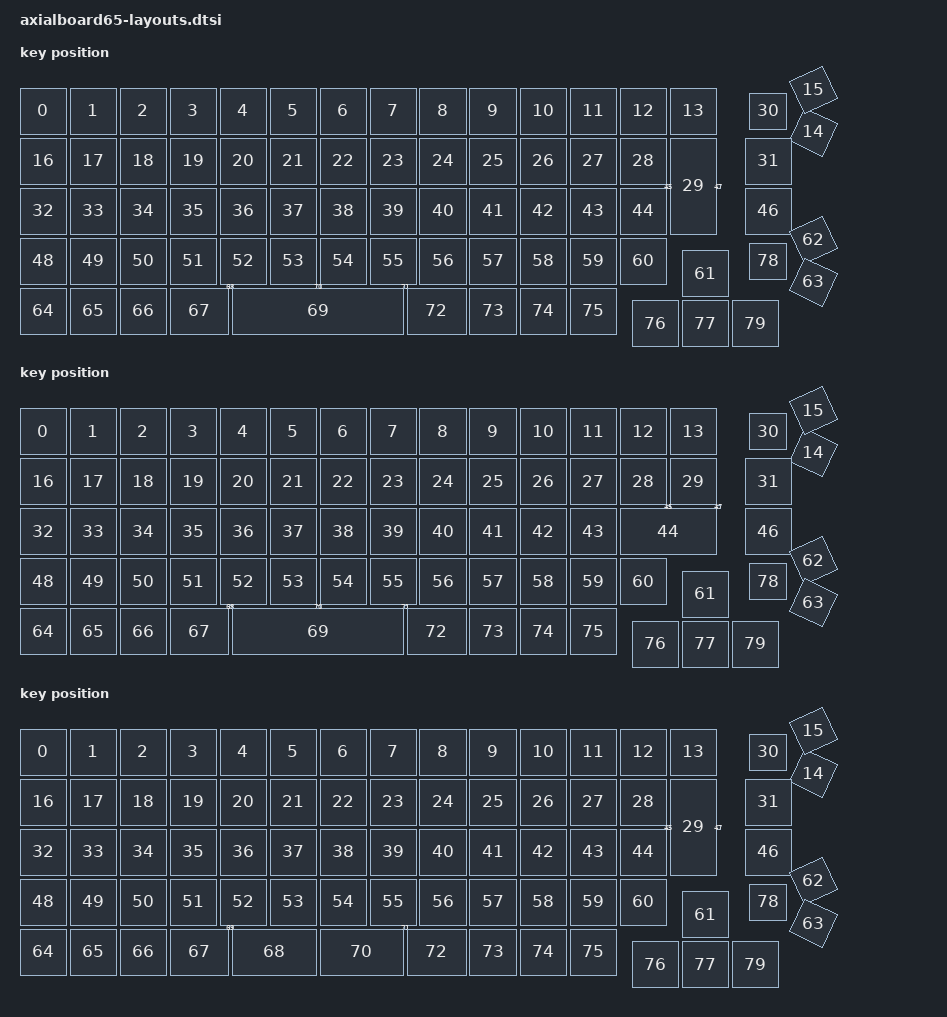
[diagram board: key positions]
#include <physical_layouts.dtsi>

/ {
    physical_layout0: physical_layout_0 {
        compatible = "zmk,physical-layout";
        display-name = "AxialBoard65 Vertical Enter";
        keys =
            /* 00-15 */
            <&key_physical_attrs 100 100    0   0     0    0    0>,   /* pos 00: RC(0,0) */
            <&key_physical_attrs 100 100  100   0     0    0    0>,   /* pos 01: RC(1,0) */
            <&key_physical_attrs 100 100  200   0     0    0    0>,   /* pos 02: RC(0,1) */
            <&key_physical_attrs 100 100  300   0     0    0    0>,   /* pos 03: RC(1,1) */
            <&key_physical_attrs 100 100  400   0     0    0    0>,   /* pos 04: RC(0,2) */
            <&key_physical_attrs 100 100  500   0     0    0    0>,   /* pos 05: RC(1,2) */
            <&key_physical_attrs 100 100  600   0     0    0    0>,   /* pos 06: RC(0,3) */
            <&key_physical_attrs 100 100  700   0     0    0    0>,   /* pos 07: RC(1,3) */
            <&key_physical_attrs 100 100  800   0     0    0    0>,   /* pos 08: RC(0,4) */
            <&key_physical_attrs 100 100  900   0     0    0    0>,   /* pos 09: RC(1,4) */
            <&key_physical_attrs 100 100 1000   0     0    0    0>,   /* pos 10: RC(0,5) */
            <&key_physical_attrs 100 100 1100   0     0    0    0>,   /* pos 11: RC(1,5) */
            <&key_physical_attrs 100 100 1200   0     0    0    0>,   /* pos 12: RC(0,6) */
            <&key_physical_attrs 100 100 1300   0     0    0    0>,   /* pos 13: RC(1,6) */
            <&key_physical_attrs  80  80 1560  10   2500  1500 50>,   /* pos 14: RC(0,7) enc1 cw */
            <&key_physical_attrs  80  80 1560  10 (-2500) 1500 50>,   /* pos 15: RC(1,7) enc1 ccw */

            /* 16-31 */
            <&key_physical_attrs 100 100    0 100     0    0    0>,   /* pos 16: RC(2,0) */
            <&key_physical_attrs 100 100  100 100     0    0    0>,   /* pos 17: RC(3,0) */
            <&key_physical_attrs 100 100  200 100     0    0    0>,   /* pos 18: RC(2,1) */
            <&key_physical_attrs 100 100  300 100     0    0    0>,   /* pos 19: RC(3,1) */
            <&key_physical_attrs 100 100  400 100     0    0    0>,   /* pos 20: RC(2,2) */
            <&key_physical_attrs 100 100  500 100     0    0    0>,   /* pos 21: RC(3,2) */
            <&key_physical_attrs 100 100  600 100     0    0    0>,   /* pos 22: RC(2,3) */
            <&key_physical_attrs 100 100  700 100     0    0    0>,   /* pos 23: RC(3,3) */
            <&key_physical_attrs 100 100  800 100     0    0    0>,   /* pos 24: RC(2,4) */
            <&key_physical_attrs 100 100  900 100     0    0    0>,   /* pos 25: RC(3,4) */
            <&key_physical_attrs 100 100 1000 100     0    0    0>,   /* pos 26: RC(2,5) */
            <&key_physical_attrs 100 100 1100 100     0    0    0>,   /* pos 27: RC(3,5) */
            <&key_physical_attrs 100 100 1200 100     0    0    0>,   /* pos 28: RC(2,6) */
            <&key_physical_attrs 100 200 1300 100     0    0    0>,   /* pos 29: RC(3,6) vertical Enter */
            <&key_physical_attrs  80  80 1460  10     0    0    0>,   /* pos 30: RC(2,7) enc1 push */
            <&key_physical_attrs 100 100 1450 100     0    0    0>,   /* pos 31: RC(3,7) */

            /* 32-47 */
            <&key_physical_attrs 100 100    0 200     0    0    0>,   /* pos 32: RC(4,0) */
            <&key_physical_attrs 100 100  100 200     0    0    0>,   /* pos 33: RC(5,0) */
            <&key_physical_attrs 100 100  200 200     0    0    0>,   /* pos 34: RC(4,1) */
            <&key_physical_attrs 100 100  300 200     0    0    0>,   /* pos 35: RC(5,1) */
            <&key_physical_attrs 100 100  400 200     0    0    0>,   /* pos 36: RC(4,2) */
            <&key_physical_attrs 100 100  500 200     0    0    0>,   /* pos 37: RC(5,2) */
            <&key_physical_attrs 100 100  600 200     0    0    0>,   /* pos 38: RC(4,3) */
            <&key_physical_attrs 100 100  700 200     0    0    0>,   /* pos 39: RC(5,3) */
            <&key_physical_attrs 100 100  800 200     0    0    0>,   /* pos 40: RC(4,4) */
            <&key_physical_attrs 100 100  900 200     0    0    0>,   /* pos 41: RC(5,4) */
            <&key_physical_attrs 100 100 1000 200     0    0    0>,   /* pos 42: RC(4,5) */
            <&key_physical_attrs 100 100 1100 200     0    0    0>,   /* pos 43: RC(5,5) */
            <&key_physical_attrs 100 100 1200 200     0    0    0>,   /* pos 44: RC(4,6) */
            <&key_physical_attrs   1   1 1300 200     0    0    0>,   /* pos 45: RC(5,6) dummy */
            <&key_physical_attrs 100 100 1450 200     0    0    0>,   /* pos 46: RC(4,7) */
            <&key_physical_attrs   1   1 1400 200     0    0    0>,   /* pos 47: RC(5,7) dummy */

            /* 48-63 */
            <&key_physical_attrs 100 100    0 300     0    0    0>,   /* pos 48: RC(6,0) */
            <&key_physical_attrs 100 100  100 300     0    0    0>,   /* pos 49: RC(7,0) */
            <&key_physical_attrs 100 100  200 300     0    0    0>,   /* pos 50: RC(6,1) */
            <&key_physical_attrs 100 100  300 300     0    0    0>,   /* pos 51: RC(7,1) */
            <&key_physical_attrs 100 100  400 300     0    0    0>,   /* pos 52: RC(6,2) */
            <&key_physical_attrs 100 100  500 300     0    0    0>,   /* pos 53: RC(7,2) */
            <&key_physical_attrs 100 100  600 300     0    0    0>,   /* pos 54: RC(6,3) */
            <&key_physical_attrs 100 100  700 300     0    0    0>,   /* pos 55: RC(7,3) */
            <&key_physical_attrs 100 100  800 300     0    0    0>,   /* pos 56: RC(6,4) */
            <&key_physical_attrs 100 100  900 300     0    0    0>,   /* pos 57: RC(7,4) */
            <&key_physical_attrs 100 100 1000 300     0    0    0>,   /* pos 58: RC(6,5) */
            <&key_physical_attrs 100 100 1100 300     0    0    0>,   /* pos 59: RC(7,5) */
            <&key_physical_attrs 100 100 1200 300     0    0    0>,   /* pos 60: RC(6,6) */
            <&key_physical_attrs 100 100 1325 325     0    0    0>,   /* pos 61: RC(7,6) */
            <&key_physical_attrs  80  80 1560 310 (-2500) 1500 350>,   /* pos 62: RC(6,7) enc2 up */
            <&key_physical_attrs  80  80 1560 310   2500  1500 350>,   /* pos 63: RC(7,7) enc2 dn */

            /* 64-79 */
            <&key_physical_attrs 100 100    0 400     0    0    0>,   /* pos 64: RC(8,0) */
            <&key_physical_attrs 100 100  100 400     0    0    0>,   /* pos 65: RC(9,0) */
            <&key_physical_attrs 100 100  200 400     0    0    0>,   /* pos 66: RC(8,1) */
            <&key_physical_attrs 125 100  300 400     0    0    0>,   /* pos 67: RC(9,1) */
            <&key_physical_attrs   1   1  425 400     0    0    0>,   /* pos 68: RC(8,2) dummy */
            <&key_physical_attrs 350 100  425 400     0    0    0>,   /* pos 69: RC(9,2) 3.5u space */
            <&key_physical_attrs   1   1  600 400     0    0    0>,   /* pos 70: RC(8,3) dummy */
            <&key_physical_attrs   1   1  775 400     0    0    0>,   /* pos 71: RC(9,3) dummy */
            <&key_physical_attrs 125 100  775 400     0    0    0>,   /* pos 72: RC(8,4) */
            <&key_physical_attrs 100 100  900 400     0    0    0>,   /* pos 73: RC(9,4) */
            <&key_physical_attrs 100 100 1000 400     0    0    0>,   /* pos 74: RC(8,5) */
            <&key_physical_attrs 100 100 1100 400     0    0    0>,   /* pos 75: RC(9,5) */
            <&key_physical_attrs 100 100 1225 425     0    0    0>,   /* pos 76: RC(8,6) */
            <&key_physical_attrs 100 100 1325 425     0    0    0>,   /* pos 77: RC(9,6) */
            <&key_physical_attrs  80  80 1460 310     0    0    0>,   /* pos 78: RC(8,7) enc2 push */
            <&key_physical_attrs 100 100 1425 425     0    0    0>;   /* pos 79: RC(9,7) */
    };

    physical_layout1: physical_layout_1 {
        compatible = "zmk,physical-layout";
        display-name = "AxialBoard65 Horizontal Enter";
        keys =
            /* 00-15 */
            <&key_physical_attrs 100 100    0   0     0    0    0>,   /* pos 00: RC(0,0) */
            <&key_physical_attrs 100 100  100   0     0    0    0>,   /* pos 01: RC(1,0) */
            <&key_physical_attrs 100 100  200   0     0    0    0>,   /* pos 02: RC(0,1) */
            <&key_physical_attrs 100 100  300   0     0    0    0>,   /* pos 03: RC(1,1) */
            <&key_physical_attrs 100 100  400   0     0    0    0>,   /* pos 04: RC(0,2) */
            <&key_physical_attrs 100 100  500   0     0    0    0>,   /* pos 05: RC(1,2) */
            <&key_physical_attrs 100 100  600   0     0    0    0>,   /* pos 06: RC(0,3) */
            <&key_physical_attrs 100 100  700   0     0    0    0>,   /* pos 07: RC(1,3) */
            <&key_physical_attrs 100 100  800   0     0    0    0>,   /* pos 08: RC(0,4) */
            <&key_physical_attrs 100 100  900   0     0    0    0>,   /* pos 09: RC(1,4) */
            <&key_physical_attrs 100 100 1000   0     0    0    0>,   /* pos 10: RC(0,5) */
            <&key_physical_attrs 100 100 1100   0     0    0    0>,   /* pos 11: RC(1,5) */
            <&key_physical_attrs 100 100 1200   0     0    0    0>,   /* pos 12: RC(0,6) */
            <&key_physical_attrs 100 100 1300   0     0    0    0>,   /* pos 13: RC(1,6) */
            <&key_physical_attrs  80  80 1560  10   2500  1500 50>,   /* pos 14: RC(0,7) enc1 cw */
            <&key_physical_attrs  80  80 1560  10 (-2500) 1500 50>,   /* pos 15: RC(1,7) enc1 ccw */

            /* 16-31 */
            <&key_physical_attrs 100 100    0 100     0    0    0>,   /* pos 16: RC(2,0) */
            <&key_physical_attrs 100 100  100 100     0    0    0>,   /* pos 17: RC(3,0) */
            <&key_physical_attrs 100 100  200 100     0    0    0>,   /* pos 18: RC(2,1) */
            <&key_physical_attrs 100 100  300 100     0    0    0>,   /* pos 19: RC(3,1) */
            <&key_physical_attrs 100 100  400 100     0    0    0>,   /* pos 20: RC(2,2) */
            <&key_physical_attrs 100 100  500 100     0    0    0>,   /* pos 21: RC(3,2) */
            <&key_physical_attrs 100 100  600 100     0    0    0>,   /* pos 22: RC(2,3) */
            <&key_physical_attrs 100 100  700 100     0    0    0>,   /* pos 23: RC(3,3) */
            <&key_physical_attrs 100 100  800 100     0    0    0>,   /* pos 24: RC(2,4) */
            <&key_physical_attrs 100 100  900 100     0    0    0>,   /* pos 25: RC(3,4) */
            <&key_physical_attrs 100 100 1000 100     0    0    0>,   /* pos 26: RC(2,5) */
            <&key_physical_attrs 100 100 1100 100     0    0    0>,   /* pos 27: RC(3,5) */
            <&key_physical_attrs 100 100 1200 100     0    0    0>,   /* pos 28: RC(2,6) */
            <&key_physical_attrs 100 100 1300 100     0    0    0>,   /* pos 29: RC(3,6) */
            <&key_physical_attrs  80  80 1460  10     0    0    0>,   /* pos 30: RC(2,7) enc1 push */
            <&key_physical_attrs 100 100 1450 100     0    0    0>,   /* pos 31: RC(3,7) */

            /* 32-47 */
            <&key_physical_attrs 100 100    0 200     0    0    0>,   /* pos 32: RC(4,0) */
            <&key_physical_attrs 100 100  100 200     0    0    0>,   /* pos 33: RC(5,0) */
            <&key_physical_attrs 100 100  200 200     0    0    0>,   /* pos 34: RC(4,1) */
            <&key_physical_attrs 100 100  300 200     0    0    0>,   /* pos 35: RC(5,1) */
            <&key_physical_attrs 100 100  400 200     0    0    0>,   /* pos 36: RC(4,2) */
            <&key_physical_attrs 100 100  500 200     0    0    0>,   /* pos 37: RC(5,2) */
            <&key_physical_attrs 100 100  600 200     0    0    0>,   /* pos 38: RC(4,3) */
            <&key_physical_attrs 100 100  700 200     0    0    0>,   /* pos 39: RC(5,3) */
            <&key_physical_attrs 100 100  800 200     0    0    0>,   /* pos 40: RC(4,4) */
            <&key_physical_attrs 100 100  900 200     0    0    0>,   /* pos 41: RC(5,4) */
            <&key_physical_attrs 100 100 1000 200     0    0    0>,   /* pos 42: RC(4,5) */
            <&key_physical_attrs 100 100 1100 200     0    0    0>,   /* pos 43: RC(5,5) */
            <&key_physical_attrs 200 100 1200 200     0    0    0>,   /* pos 44: RC(4,6) horizontal Enter*/
            <&key_physical_attrs   1   1 1300 200     0    0    0>,   /* pos 45: RC(5,6) dummy */
            <&key_physical_attrs 100 100 1450 200     0    0    0>,   /* pos 46: RC(4,7) */
            <&key_physical_attrs   1   1 1400 200     0    0    0>,   /* pos 47: RC(5,7) dummy */

            /* 48-63 */
            <&key_physical_attrs 100 100    0 300     0    0    0>,   /* pos 48: RC(6,0) */
            <&key_physical_attrs 100 100  100 300     0    0    0>,   /* pos 49: RC(7,0) */
            <&key_physical_attrs 100 100  200 300     0    0    0>,   /* pos 50: RC(6,1) */
            <&key_physical_attrs 100 100  300 300     0    0    0>,   /* pos 51: RC(7,1) */
            <&key_physical_attrs 100 100  400 300     0    0    0>,   /* pos 52: RC(6,2) */
            <&key_physical_attrs 100 100  500 300     0    0    0>,   /* pos 53: RC(7,2) */
            <&key_physical_attrs 100 100  600 300     0    0    0>,   /* pos 54: RC(6,3) */
            <&key_physical_attrs 100 100  700 300     0    0    0>,   /* pos 55: RC(7,3) */
            <&key_physical_attrs 100 100  800 300     0    0    0>,   /* pos 56: RC(6,4) */
            <&key_physical_attrs 100 100  900 300     0    0    0>,   /* pos 57: RC(7,4) */
            <&key_physical_attrs 100 100 1000 300     0    0    0>,   /* pos 58: RC(6,5) */
            <&key_physical_attrs 100 100 1100 300     0    0    0>,   /* pos 59: RC(7,5) */
            <&key_physical_attrs 100 100 1200 300     0    0    0>,   /* pos 60: RC(6,6) */
            <&key_physical_attrs 100 100 1325 325     0    0    0>,   /* pos 61: RC(7,6) */
            <&key_physical_attrs  80  80 1560 310 (-2500) 1500 350>,   /* pos 62: RC(6,7) enc2 up */
            <&key_physical_attrs  80  80 1560 310   2500  1500 350>,   /* pos 63: RC(7,7) enc2 dn */

            /* 64-79 */
            <&key_physical_attrs 100 100    0 400     0    0    0>,   /* pos 64: RC(8,0) */
            <&key_physical_attrs 100 100  100 400     0    0    0>,   /* pos 65: RC(9,0) */
            <&key_physical_attrs 100 100  200 400     0    0    0>,   /* pos 66: RC(8,1) */
            <&key_physical_attrs 125 100  300 400     0    0    0>,   /* pos 67: RC(9,1) */
            <&key_physical_attrs   1   1  425 400     0    0    0>,   /* pos 68: RC(8,2) dummy */
            <&key_physical_attrs 350 100  425 400     0    0    0>,   /* pos 69: RC(9,2) 3.5u space */
            <&key_physical_attrs   1   1  600 400     0    0    0>,   /* pos 70: RC(8,3) dummy */
            <&key_physical_attrs   1   1  775 400     0    0    0>,   /* pos 71: RC(9,3) dummy */
            <&key_physical_attrs 125 100  775 400     0    0    0>,   /* pos 72: RC(8,4) */
            <&key_physical_attrs 100 100  900 400     0    0    0>,   /* pos 73: RC(9,4) */
            <&key_physical_attrs 100 100 1000 400     0    0    0>,   /* pos 74: RC(8,5) */
            <&key_physical_attrs 100 100 1100 400     0    0    0>,   /* pos 75: RC(9,5) */
            <&key_physical_attrs 100 100 1225 425     0    0    0>,   /* pos 76: RC(8,6) */
            <&key_physical_attrs 100 100 1325 425     0    0    0>,   /* pos 77: RC(9,6) */
            <&key_physical_attrs  80  80 1460 310     0    0    0>,   /* pos 78: RC(8,7) enc2 push */
            <&key_physical_attrs 100 100 1425 425     0    0    0>;   /* pos 79: RC(9,7) */
    };

    physical_layout2: physical_layout_2 {
        compatible = "zmk,physical-layout";
        display-name = "AxialBoard65 Vertical Enter + Split Spacebar";
        keys =
            /* 00-15 */
            <&key_physical_attrs 100 100    0   0     0    0    0>,   /* pos 00: RC(0,0) */
            <&key_physical_attrs 100 100  100   0     0    0    0>,   /* pos 01: RC(1,0) */
            <&key_physical_attrs 100 100  200   0     0    0    0>,   /* pos 02: RC(0,1) */
            <&key_physical_attrs 100 100  300   0     0    0    0>,   /* pos 03: RC(1,1) */
            <&key_physical_attrs 100 100  400   0     0    0    0>,   /* pos 04: RC(0,2) */
            <&key_physical_attrs 100 100  500   0     0    0    0>,   /* pos 05: RC(1,2) */
            <&key_physical_attrs 100 100  600   0     0    0    0>,   /* pos 06: RC(0,3) */
            <&key_physical_attrs 100 100  700   0     0    0    0>,   /* pos 07: RC(1,3) */
            <&key_physical_attrs 100 100  800   0     0    0    0>,   /* pos 08: RC(0,4) */
            <&key_physical_attrs 100 100  900   0     0    0    0>,   /* pos 09: RC(1,4) */
            <&key_physical_attrs 100 100 1000   0     0    0    0>,   /* pos 10: RC(0,5) */
            <&key_physical_attrs 100 100 1100   0     0    0    0>,   /* pos 11: RC(1,5) */
            <&key_physical_attrs 100 100 1200   0     0    0    0>,   /* pos 12: RC(0,6) */
            <&key_physical_attrs 100 100 1300   0     0    0    0>,   /* pos 13: RC(1,6) */
            <&key_physical_attrs  80  80 1560  10   2500  1500 50>,   /* pos 14: RC(0,7) enc1 cw */
            <&key_physical_attrs  80  80 1560  10 (-2500) 1500 50>,   /* pos 15: RC(1,7) enc1 ccw */

            /* 16-31 */
            <&key_physical_attrs 100 100    0 100     0    0    0>,   /* pos 16: RC(2,0) */
            <&key_physical_attrs 100 100  100 100     0    0    0>,   /* pos 17: RC(3,0) */
            <&key_physical_attrs 100 100  200 100     0    0    0>,   /* pos 18: RC(2,1) */
            <&key_physical_attrs 100 100  300 100     0    0    0>,   /* pos 19: RC(3,1) */
            <&key_physical_attrs 100 100  400 100     0    0    0>,   /* pos 20: RC(2,2) */
            <&key_physical_attrs 100 100  500 100     0    0    0>,   /* pos 21: RC(3,2) */
            <&key_physical_attrs 100 100  600 100     0    0    0>,   /* pos 22: RC(2,3) */
            <&key_physical_attrs 100 100  700 100     0    0    0>,   /* pos 23: RC(3,3) */
            <&key_physical_attrs 100 100  800 100     0    0    0>,   /* pos 24: RC(2,4) */
            <&key_physical_attrs 100 100  900 100     0    0    0>,   /* pos 25: RC(3,4) */
            <&key_physical_attrs 100 100 1000 100     0    0    0>,   /* pos 26: RC(2,5) */
            <&key_physical_attrs 100 100 1100 100     0    0    0>,   /* pos 27: RC(3,5) */
            <&key_physical_attrs 100 100 1200 100     0    0    0>,   /* pos 28: RC(2,6) */
            <&key_physical_attrs 100 200 1300 100     0    0    0>,   /* pos 29: RC(3,6) vertical Enter */
            <&key_physical_attrs  80  80 1460  10     0    0    0>,   /* pos 30: RC(2,7) enc1 push */
            <&key_physical_attrs 100 100 1450 100     0    0    0>,   /* pos 31: RC(3,7) */

            /* 32-47 */
            <&key_physical_attrs 100 100    0 200     0    0    0>,   /* pos 32: RC(4,0) */
            <&key_physical_attrs 100 100  100 200     0    0    0>,   /* pos 33: RC(5,0) */
            <&key_physical_attrs 100 100  200 200     0    0    0>,   /* pos 34: RC(4,1) */
            <&key_physical_attrs 100 100  300 200     0    0    0>,   /* pos 35: RC(5,1) */
            <&key_physical_attrs 100 100  400 200     0    0    0>,   /* pos 36: RC(4,2) */
            <&key_physical_attrs 100 100  500 200     0    0    0>,   /* pos 37: RC(5,2) */
            <&key_physical_attrs 100 100  600 200     0    0    0>,   /* pos 38: RC(4,3) */
            <&key_physical_attrs 100 100  700 200     0    0    0>,   /* pos 39: RC(5,3) */
            <&key_physical_attrs 100 100  800 200     0    0    0>,   /* pos 40: RC(4,4) */
            <&key_physical_attrs 100 100  900 200     0    0    0>,   /* pos 41: RC(5,4) */
            <&key_physical_attrs 100 100 1000 200     0    0    0>,   /* pos 42: RC(4,5) */
            <&key_physical_attrs 100 100 1100 200     0    0    0>,   /* pos 43: RC(5,5) */
            <&key_physical_attrs 100 100 1200 200     0    0    0>,   /* pos 44: RC(4,6) */
            <&key_physical_attrs   1   1 1300 200     0    0    0>,   /* pos 45: RC(5,6) dummy */
            <&key_physical_attrs 100 100 1450 200     0    0    0>,   /* pos 46: RC(4,7) */
            <&key_physical_attrs   1   1 1400 200     0    0    0>,   /* pos 47: RC(5,7) dummy */

            /* 48-63 */
            <&key_physical_attrs 100 100    0 300     0    0    0>,   /* pos 48: RC(6,0) */
            <&key_physical_attrs 100 100  100 300     0    0    0>,   /* pos 49: RC(7,0) */
            <&key_physical_attrs 100 100  200 300     0    0    0>,   /* pos 50: RC(6,1) */
            <&key_physical_attrs 100 100  300 300     0    0    0>,   /* pos 51: RC(7,1) */
            <&key_physical_attrs 100 100  400 300     0    0    0>,   /* pos 52: RC(6,2) */
            <&key_physical_attrs 100 100  500 300     0    0    0>,   /* pos 53: RC(7,2) */
            <&key_physical_attrs 100 100  600 300     0    0    0>,   /* pos 54: RC(6,3) */
            <&key_physical_attrs 100 100  700 300     0    0    0>,   /* pos 55: RC(7,3) */
            <&key_physical_attrs 100 100  800 300     0    0    0>,   /* pos 56: RC(6,4) */
            <&key_physical_attrs 100 100  900 300     0    0    0>,   /* pos 57: RC(7,4) */
            <&key_physical_attrs 100 100 1000 300     0    0    0>,   /* pos 58: RC(6,5) */
            <&key_physical_attrs 100 100 1100 300     0    0    0>,   /* pos 59: RC(7,5) */
            <&key_physical_attrs 100 100 1200 300     0    0    0>,   /* pos 60: RC(6,6) */
            <&key_physical_attrs 100 100 1325 325     0    0    0>,   /* pos 61: RC(7,6) */
            <&key_physical_attrs  80  80 1560 310 (-2500) 1500 350>,   /* pos 62: RC(6,7) enc2 up */
            <&key_physical_attrs  80  80 1560 310   2500  1500 350>,   /* pos 63: RC(7,7) enc2 dn */

            /* 64-79 */
            <&key_physical_attrs 100 100    0 400     0    0    0>,   /* pos 64: RC(8,0) */
            <&key_physical_attrs 100 100  100 400     0    0    0>,   /* pos 65: RC(9,0) */
            <&key_physical_attrs 100 100  200 400     0    0    0>,   /* pos 66: RC(8,1) */
            <&key_physical_attrs 125 100  300 400     0    0    0>,   /* pos 67: RC(9,1) */
            <&key_physical_attrs 175 100  425 400     0    0    0>,   /* pos 68: RC(8,2) 1.75u space */
            <&key_physical_attrs   1   1  425 400     0    0    0>,   /* pos 69: RC(9,2) dummy */
            <&key_physical_attrs 175 100  600 400     0    0    0>,   /* pos 70: RC(8,3) 1.75u spece */
            <&key_physical_attrs   1   1  775 400     0    0    0>,   /* pos 71: RC(9,3) dummy */
            <&key_physical_attrs 125 100  775 400     0    0    0>,   /* pos 72: RC(8,4) */
            <&key_physical_attrs 100 100  900 400     0    0    0>,   /* pos 73: RC(9,4) */
            <&key_physical_attrs 100 100 1000 400     0    0    0>,   /* pos 74: RC(8,5) */
            <&key_physical_attrs 100 100 1100 400     0    0    0>,   /* pos 75: RC(9,5) */
            <&key_physical_attrs 100 100 1225 425     0    0    0>,   /* pos 76: RC(8,6) */
            <&key_physical_attrs 100 100 1325 425     0    0    0>,   /* pos 77: RC(9,6) */
            <&key_physical_attrs  80  80 1460 310     0    0    0>,   /* pos 78: RC(8,7) enc2 push */
            <&key_physical_attrs 100 100 1425 425     0    0    0>;   /* pos 79: RC(9,7) */
    };

    physical_layout3: physical_layout_3 {
        compatible = "zmk,physical-layout";
        display-name = "AxialBoard65 Horizontal Enter + Split Spacebar";
        keys =
            /* 00-15 */
            <&key_physical_attrs 100 100    0   0     0    0    0>,   /* pos 00: RC(0,0) */
            <&key_physical_attrs 100 100  100   0     0    0    0>,   /* pos 01: RC(1,0) */
            <&key_physical_attrs 100 100  200   0     0    0    0>,   /* pos 02: RC(0,1) */
            <&key_physical_attrs 100 100  300   0     0    0    0>,   /* pos 03: RC(1,1) */
            <&key_physical_attrs 100 100  400   0     0    0    0>,   /* pos 04: RC(0,2) */
            <&key_physical_attrs 100 100  500   0     0    0    0>,   /* pos 05: RC(1,2) */
            <&key_physical_attrs 100 100  600   0     0    0    0>,   /* pos 06: RC(0,3) */
            <&key_physical_attrs 100 100  700   0     0    0    0>,   /* pos 07: RC(1,3) */
            <&key_physical_attrs 100 100  800   0     0    0    0>,   /* pos 08: RC(0,4) */
            <&key_physical_attrs 100 100  900   0     0    0    0>,   /* pos 09: RC(1,4) */
            <&key_physical_attrs 100 100 1000   0     0    0    0>,   /* pos 10: RC(0,5) */
            <&key_physical_attrs 100 100 1100   0     0    0    0>,   /* pos 11: RC(1,5) */
            <&key_physical_attrs 100 100 1200   0     0    0    0>,   /* pos 12: RC(0,6) */
            <&key_physical_attrs 100 100 1300   0     0    0    0>,   /* pos 13: RC(1,6) */
            <&key_physical_attrs  80  80 1560  10   2500  1500 50>,   /* pos 14: RC(0,7) enc1 cw */
            <&key_physical_attrs  80  80 1560  10 (-2500) 1500 50>,   /* pos 15: RC(1,7) enc1 ccw */

            /* 16-31 */
            <&key_physical_attrs 100 100    0 100     0    0    0>,   /* pos 16: RC(2,0) */
            <&key_physical_attrs 100 100  100 100     0    0    0>,   /* pos 17: RC(3,0) */
            <&key_physical_attrs 100 100  200 100     0    0    0>,   /* pos 18: RC(2,1) */
            <&key_physical_attrs 100 100  300 100     0    0    0>,   /* pos 19: RC(3,1) */
            <&key_physical_attrs 100 100  400 100     0    0    0>,   /* pos 20: RC(2,2) */
            <&key_physical_attrs 100 100  500 100     0    0    0>,   /* pos 21: RC(3,2) */
            <&key_physical_attrs 100 100  600 100     0    0    0>,   /* pos 22: RC(2,3) */
            <&key_physical_attrs 100 100  700 100     0    0    0>,   /* pos 23: RC(3,3) */
            <&key_physical_attrs 100 100  800 100     0    0    0>,   /* pos 24: RC(2,4) */
            <&key_physical_attrs 100 100  900 100     0    0    0>,   /* pos 25: RC(3,4) */
            <&key_physical_attrs 100 100 1000 100     0    0    0>,   /* pos 26: RC(2,5) */
            <&key_physical_attrs 100 100 1100 100     0    0    0>,   /* pos 27: RC(3,5) */
            <&key_physical_attrs 100 100 1200 100     0    0    0>,   /* pos 28: RC(2,6) */
            <&key_physical_attrs 100 100 1300 100     0    0    0>,   /* pos 29: RC(3,6) */
            <&key_physical_attrs  80  80 1460  10     0    0    0>,   /* pos 30: RC(2,7) enc1 push */
            <&key_physical_attrs 100 100 1450 100     0    0    0>,   /* pos 31: RC(3,7) */

            /* 32-47 */
            <&key_physical_attrs 100 100    0 200     0    0    0>,   /* pos 32: RC(4,0) */
            <&key_physical_attrs 100 100  100 200     0    0    0>,   /* pos 33: RC(5,0) */
            <&key_physical_attrs 100 100  200 200     0    0    0>,   /* pos 34: RC(4,1) */
            <&key_physical_attrs 100 100  300 200     0    0    0>,   /* pos 35: RC(5,1) */
            <&key_physical_attrs 100 100  400 200     0    0    0>,   /* pos 36: RC(4,2) */
            <&key_physical_attrs 100 100  500 200     0    0    0>,   /* pos 37: RC(5,2) */
            <&key_physical_attrs 100 100  600 200     0    0    0>,   /* pos 38: RC(4,3) */
            <&key_physical_attrs 100 100  700 200     0    0    0>,   /* pos 39: RC(5,3) */
            <&key_physical_attrs 100 100  800 200     0    0    0>,   /* pos 40: RC(4,4) */
            <&key_physical_attrs 100 100  900 200     0    0    0>,   /* pos 41: RC(5,4) */
            <&key_physical_attrs 100 100 1000 200     0    0    0>,   /* pos 42: RC(4,5) */
            <&key_physical_attrs 100 100 1100 200     0    0    0>,   /* pos 43: RC(5,5) */
            <&key_physical_attrs 200 100 1200 200     0    0    0>,   /* pos 44: RC(4,6) horizontalEnter*/
            <&key_physical_attrs   1   1 1300 200     0    0    0>,   /* pos 45: RC(5,6) dummy */
            <&key_physical_attrs 100 100 1450 200     0    0    0>,   /* pos 46: RC(4,7) */
            <&key_physical_attrs   1   1 1400 200     0    0    0>,   /* pos 47: RC(5,7) dummy */

            /* 48-63 */
            <&key_physical_attrs 100 100    0 300     0    0    0>,   /* pos 48: RC(6,0) */
            <&key_physical_attrs 100 100  100 300     0    0    0>,   /* pos 49: RC(7,0) */
            <&key_physical_attrs 100 100  200 300     0    0    0>,   /* pos 50: RC(6,1) */
            <&key_physical_attrs 100 100  300 300     0    0    0>,   /* pos 51: RC(7,1) */
            <&key_physical_attrs 100 100  400 300     0    0    0>,   /* pos 52: RC(6,2) */
            <&key_physical_attrs 100 100  500 300     0    0    0>,   /* pos 53: RC(7,2) */
            <&key_physical_attrs 100 100  600 300     0    0    0>,   /* pos 54: RC(6,3) */
            <&key_physical_attrs 100 100  700 300     0    0    0>,   /* pos 55: RC(7,3) */
            <&key_physical_attrs 100 100  800 300     0    0    0>,   /* pos 56: RC(6,4) */
            <&key_physical_attrs 100 100  900 300     0    0    0>,   /* pos 57: RC(7,4) */
            <&key_physical_attrs 100 100 1000 300     0    0    0>,   /* pos 58: RC(6,5) */
            <&key_physical_attrs 100 100 1100 300     0    0    0>,   /* pos 59: RC(7,5) */
            <&key_physical_attrs 100 100 1200 300     0    0    0>,   /* pos 60: RC(6,6) */
            <&key_physical_attrs 100 100 1325 325     0    0    0>,   /* pos 61: RC(7,6) */
            <&key_physical_attrs  80  80 1560 310 (-2500) 1500 350>,   /* pos 62: RC(6,7) enc2 up */
            <&key_physical_attrs  80  80 1560 310   2500  1500 350>,   /* pos 63: RC(7,7) enc2 dn */

            /* 64-79 */
            <&key_physical_attrs 100 100    0 400     0    0    0>,   /* pos 64: RC(8,0) */
            <&key_physical_attrs 100 100  100 400     0    0    0>,   /* pos 65: RC(9,0) */
            <&key_physical_attrs 100 100  200 400     0    0    0>,   /* pos 66: RC(8,1) */
            <&key_physical_attrs 125 100  300 400     0    0    0>,   /* pos 67: RC(9,1) */
            <&key_physical_attrs 175 100  425 400     0    0    0>,   /* pos 68: RC(8,2) 1.75u space */
            <&key_physical_attrs   1   1  425 400     0    0    0>,   /* pos 69: RC(9,2) dummy */
            <&key_physical_attrs 175 100  600 400     0    0    0>,   /* pos 70: RC(8,3) 1.75u space */
            <&key_physical_attrs   1   1  775 400     0    0    0>,   /* pos 71: RC(9,3) dummy */
            <&key_physical_attrs 125 100  775 400     0    0    0>,   /* pos 72: RC(8,4) */
            <&key_physical_attrs 100 100  900 400     0    0    0>,   /* pos 73: RC(9,4) */
            <&key_physical_attrs 100 100 1000 400     0    0    0>,   /* pos 74: RC(8,5) */
            <&key_physical_attrs 100 100 1100 400     0    0    0>,   /* pos 75: RC(9,5) */
            <&key_physical_attrs 100 100 1225 425     0    0    0>,   /* pos 76: RC(8,6) */
            <&key_physical_attrs 100 100 1325 425     0    0    0>,   /* pos 77: RC(9,6) */
            <&key_physical_attrs  80  80 1460 310     0    0    0>,   /* pos 78: RC(8,7) enc2 push */
            <&key_physical_attrs 100 100 1425 425     0    0    0>;   /* pos 79: RC(9,7) */
    };

};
